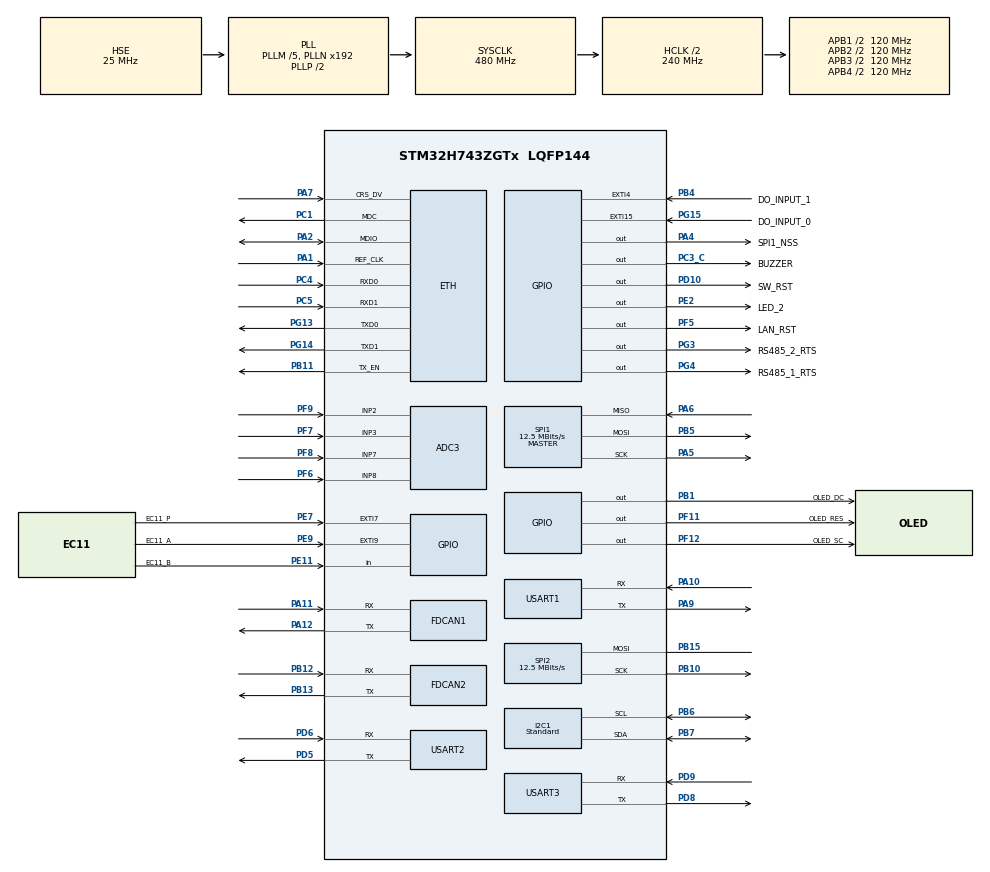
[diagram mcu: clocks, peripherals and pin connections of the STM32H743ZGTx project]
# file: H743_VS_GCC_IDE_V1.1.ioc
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ADC3.Channel-2\#ChannelRegularConversion=ADC_CHANNEL_8
ADC3.Channel-3\#ChannelRegularConversion=ADC_CHANNEL_3
ADC3.Channel-4\#ChannelRegularConversion=ADC_CHANNEL_7
ADC3.Channel-5\#ChannelRegularConversion=ADC_CHANNEL_2
ADC3.ClockPrescaler=ADC_CLOCK_ASYNC_DIV2
ADC3.ContinuousConvMode=ENABLE
ADC3.ConversionDataManagement=ADC_CONVERSIONDATA_DMA_CIRCULAR
ADC3.NbrOfConversion=4
ADC3.NbrOfConversionFlag=1
ADC3.OffsetNumber-2\#ChannelRegularConversion=ADC_OFFSET_NONE
ADC3.OffsetNumber-3\#ChannelRegularConversion=ADC_OFFSET_NONE
ADC3.OffsetNumber-4\#ChannelRegularConversion=ADC_OFFSET_NONE
ADC3.OffsetNumber-5\#ChannelRegularConversion=ADC_OFFSET_NONE
ADC3.OffsetSignedSaturation-2\#ChannelRegularConversion=DISABLE
ADC3.OffsetSignedSaturation-3\#ChannelRegularConversion=DISABLE
ADC3.OffsetSignedSaturation-4\#ChannelRegularConversion=DISABLE
ADC3.OffsetSignedSaturation-5\#ChannelRegularConversion=DISABLE
ADC3.Rank-2\#ChannelRegularConversion=1
ADC3.Rank-3\#ChannelRegularConversion=2
ADC3.Rank-4\#ChannelRegularConversion=3
ADC3.Rank-5\#ChannelRegularConversion=4
ADC3.SamplingTime-2\#ChannelRegularConversion=ADC_SAMPLETIME_32CYCLES_5
ADC3.SamplingTime-3\#ChannelRegularConversion=ADC_SAMPLETIME_32CYCLES_5
ADC3.SamplingTime-4\#ChannelRegularConversion=ADC_SAMPLETIME_32CYCLES_5
ADC3.SamplingTime-5\#ChannelRegularConversion=ADC_SAMPLETIME_32CYCLES_5
Bdma.ADC3.0.Direction=DMA_PERIPH_TO_MEMORY
Bdma.ADC3.0.EventEnable=DISABLE
Bdma.ADC3.0.Instance=BDMA_Channel0
Bdma.ADC3.0.MemDataAlignment=DMA_MDATAALIGN_HALFWORD
Bdma.ADC3.0.MemInc=DMA_MINC_ENABLE
Bdma.ADC3.0.Mode=DMA_CIRCULAR
Bdma.ADC3.0.PeriphDataAlignment=DMA_PDATAALIGN_HALFWORD
Bdma.ADC3.0.PeriphInc=DMA_PINC_DISABLE
Bdma.ADC3.0.Polarity=HAL_DMAMUX_REQ_GEN_RISING
Bdma.ADC3.0.Priority=DMA_PRIORITY_MEDIUM
Bdma.ADC3.0.RequestNumber=1
Bdma.ADC3.0.SignalID=NONE
Bdma.ADC3.0.SyncEnable=DISABLE
Bdma.ADC3.0.SyncPolarity=HAL_DMAMUX_SYNC_NO_EVENT
Bdma.ADC3.0.SyncRequestNumber=1
Bdma.ADC3.0.SyncSignalID=NONE
Bdma.Request0=ADC3
Bdma.RequestsNb=1
CORTEX_M7.AccessPermission_S-Cortex_Memory_Protection_Unit_Region1_Settings_S=MPU_REGION_FULL_ACCESS
CORTEX_M7.AccessPermission_S-Cortex_Memory_Protection_Unit_Region2_Settings_S=MPU_REGION_FULL_ACCESS
CORTEX_M7.AccessPermission_S-Cortex_Memory_Protection_Unit_Region3_Settings_S=MPU_REGION_FULL_ACCESS
CORTEX_M7.AccessPermission_S-Cortex_Memory_Protection_Unit_Region4_Settings_S=MPU_REGION_FULL_ACCESS
CORTEX_M7.AccessPermission_Spec=MPU_REGION_FULL_ACCESS
CORTEX_M7.BaseAddress_S-Cortex_Memory_Protection_Unit_Region1_Settings_S=0x30000000
CORTEX_M7.BaseAddress_S-Cortex_Memory_Protection_Unit_Region2_Settings_S=0x30004000
CORTEX_M7.BaseAddress_S-Cortex_Memory_Protection_Unit_Region3_Settings_S=0x38800000
CORTEX_M7.BaseAddress_S-Cortex_Memory_Protection_Unit_Region4_Settings_S=0x38000000
CORTEX_M7.BaseAddress_Spec=0x24000000
CORTEX_M7.CPU_DCache=Enabled
CORTEX_M7.CPU_ICache=Enabled
CORTEX_M7.DisableExec_S-Cortex_Memory_Protection_Unit_Region1_Settings_S=MPU_INSTRUCTION_ACCESS_DISABLE
CORTEX_M7.DisableExec_S-Cortex_Memory_Protection_Unit_Region2_Settings_S=MPU_INSTRUCTION_ACCESS_ENABLE
CORTEX_M7.DisableExec_Spec=MPU_INSTRUCTION_ACCESS_ENABLE
CORTEX_M7.Enable_S-Cortex_Memory_Protection_Unit_Region1_Settings_S=MPU_REGION_ENABLE
CORTEX_M7.Enable_S-Cortex_Memory_Protection_Unit_Region2_Settings_S=MPU_REGION_ENABLE
CORTEX_M7.Enable_S-Cortex_Memory_Protection_Unit_Region3_Settings_S=MPU_REGION_ENABLE
CORTEX_M7.Enable_S-Cortex_Memory_Protection_Unit_Region4_Settings_S=MPU_REGION_ENABLE
CORTEX_M7.Enable_S-Cortex_Memory_Protection_Unit_Region5_Settings_S=__NULL
CORTEX_M7.IsBufferable_S-Cortex_Memory_Protection_Unit_Region1_Settings_S=MPU_ACCESS_BUFFERABLE
CORTEX_M7.IsBufferable_S-Cortex_Memory_Protection_Unit_Region2_Settings_S=MPU_ACCESS_NOT_BUFFERABLE
CORTEX_M7.IsBufferable_S-Cortex_Memory_Protection_Unit_Region4_Settings_S=MPU_ACCESS_NOT_BUFFERABLE
CORTEX_M7.IsBufferable_Spec=MPU_ACCESS_NOT_BUFFERABLE
CORTEX_M7.IsCacheable_S-Cortex_Memory_Protection_Unit_Region2_Settings_S=MPU_ACCESS_CACHEABLE
CORTEX_M7.IsCacheable_S-Cortex_Memory_Protection_Unit_Region4_Settings_S=MPU_ACCESS_CACHEABLE
CORTEX_M7.IsCacheable_Spec=MPU_ACCESS_CACHEABLE
CORTEX_M7.IsShareable_S-Cortex_Memory_Protection_Unit_Region1_Settings_S=MPU_ACCESS_SHAREABLE
CORTEX_M7.IsShareable_S-Cortex_Memory_Protection_Unit_Region2_Settings_S=MPU_ACCESS_NOT_SHAREABLE
CORTEX_M7.IsShareable_S-Cortex_Memory_Protection_Unit_Region4_Settings_S=MPU_ACCESS_SHAREABLE
CORTEX_M7.IsShareable_Spec=MPU_ACCESS_NOT_SHAREABLE
CORTEX_M7.Size_S-Cortex_Memory_Protection_Unit_Region1_Settings_S=MPU_REGION_SIZE_256B
CORTEX_M7.Size_S-Cortex_Memory_Protection_Unit_Region2_Settings_S=MPU_REGION_SIZE_64KB
CORTEX_M7.Size_S-Cortex_Memory_Protection_Unit_Region3_Settings_S=MPU_REGION_SIZE_4KB
CORTEX_M7.Size_S-Cortex_Memory_Protection_Unit_Region4_Settings_S=MPU_REGION_SIZE_64KB
CORTEX_M7.Size_Spec=MPU_REGION_SIZE_512KB
CORTEX_M7.SubRegionDisable_Spec=0x00
CORTEX_M7.TypeExtField_S-Cortex_Memory_Protection_Unit_Region2_Settings_S=MPU_TEX_LEVEL1
CORTEX_M7.default_mode_Activation=1
Dma.I2C1_TX.0.Direction=DMA_MEMORY_TO_PERIPH
Dma.I2C1_TX.0.EventEnable=DISABLE
Dma.I2C1_TX.0.FIFOMode=DMA_FIFOMODE_DISABLE
Dma.I2C1_TX.0.Instance=DMA1_Stream3
Dma.I2C1_TX.0.MemDataAlignment=DMA_MDATAALIGN_BYTE
Dma.I2C1_TX.0.MemInc=DMA_MINC_ENABLE
Dma.I2C1_TX.0.Mode=DMA_NORMAL
Dma.I2C1_TX.0.PeriphDataAlignment=DMA_PDATAALIGN_BYTE
Dma.I2C1_TX.0.PeriphInc=DMA_PINC_DISABLE
Dma.I2C1_TX.0.Polarity=HAL_DMAMUX_REQ_GEN_RISING
Dma.I2C1_TX.0.Priority=DMA_PRIORITY_LOW
Dma.I2C1_TX.0.RequestNumber=1
Dma.I2C1_TX.0.SignalID=NONE
Dma.I2C1_TX.0.SyncEnable=DISABLE
Dma.I2C1_TX.0.SyncPolarity=HAL_DMAMUX_SYNC_NO_EVENT
Dma.I2C1_TX.0.SyncRequestNumber=1
Dma.I2C1_TX.0.SyncSignalID=NONE
Dma.Request0=I2C1_TX
Dma.Request1=USART2_RX
Dma.Request2=USART2_TX
Dma.Request3=USART1_RX
Dma.Request4=USART1_TX
Dma.USART1_RX.3.Direction=DMA_PERIPH_TO_MEMORY
Dma.USART1_RX.3.EventEnable=DISABLE
Dma.USART1_RX.3.FIFOMode=DMA_FIFOMODE_DISABLE
Dma.USART1_RX.3.Instance=DMA1_Stream0
Dma.USART1_RX.3.MemDataAlignment=DMA_MDATAALIGN_BYTE
Dma.USART1_RX.3.MemInc=DMA_MINC_ENABLE
Dma.USART1_RX.3.Mode=DMA_NORMAL
Dma.USART1_RX.3.PeriphDataAlignment=DMA_PDATAALIGN_BYTE
Dma.USART1_RX.3.PeriphInc=DMA_PINC_DISABLE
Dma.USART1_RX.3.Polarity=HAL_DMAMUX_REQ_GEN_RISING
Dma.USART1_RX.3.Priority=DMA_PRIORITY_MEDIUM
Dma.USART1_RX.3.RequestNumber=1
Dma.USART1_RX.3.SignalID=NONE
Dma.USART1_RX.3.SyncEnable=DISABLE
Dma.USART1_RX.3.SyncPolarity=HAL_DMAMUX_SYNC_NO_EVENT
Dma.USART1_RX.3.SyncRequestNumber=1
Dma.USART1_RX.3.SyncSignalID=NONE
Dma.USART1_TX.4.Direction=DMA_MEMORY_TO_PERIPH
Dma.USART1_TX.4.EventEnable=DISABLE
Dma.USART1_TX.4.FIFOMode=DMA_FIFOMODE_DISABLE
Dma.USART1_TX.4.Instance=DMA1_Stream1
Dma.USART1_TX.4.MemDataAlignment=DMA_MDATAALIGN_BYTE
Dma.USART1_TX.4.MemInc=DMA_MINC_ENABLE
Dma.USART1_TX.4.Mode=DMA_NORMAL
Dma.USART1_TX.4.PeriphDataAlignment=DMA_PDATAALIGN_BYTE
Dma.USART1_TX.4.PeriphInc=DMA_PINC_DISABLE
Dma.USART1_TX.4.Polarity=HAL_DMAMUX_REQ_GEN_RISING
Dma.USART1_TX.4.Priority=DMA_PRIORITY_MEDIUM
Dma.USART1_TX.4.RequestNumber=1
Dma.USART1_TX.4.SignalID=NONE
Dma.USART1_TX.4.SyncEnable=DISABLE
Dma.USART1_TX.4.SyncPolarity=HAL_DMAMUX_SYNC_NO_EVENT
Dma.USART1_TX.4.SyncRequestNumber=1
Dma.USART1_TX.4.SyncSignalID=NONE
Dma.USART2_RX.1.Direction=DMA_PERIPH_TO_MEMORY
Dma.USART2_RX.1.EventEnable=DISABLE
Dma.USART2_RX.1.FIFOMode=DMA_FIFOMODE_DISABLE
Dma.USART2_RX.1.Instance=DMA1_Stream4
Dma.USART2_RX.1.MemDataAlignment=DMA_MDATAALIGN_BYTE
Dma.USART2_RX.1.MemInc=DMA_MINC_ENABLE
Dma.USART2_RX.1.Mode=DMA_NORMAL
Dma.USART2_RX.1.PeriphDataAlignment=DMA_PDATAALIGN_BYTE
Dma.USART2_RX.1.PeriphInc=DMA_PINC_DISABLE
Dma.USART2_RX.1.Polarity=HAL_DMAMUX_REQ_GEN_RISING
Dma.USART2_RX.1.Priority=DMA_PRIORITY_LOW
Dma.USART2_RX.1.RequestNumber=1
Dma.USART2_RX.1.SignalID=NONE
Dma.USART2_RX.1.SyncEnable=DISABLE
Dma.USART2_RX.1.SyncPolarity=HAL_DMAMUX_SYNC_NO_EVENT
Dma.USART2_RX.1.SyncRequestNumber=1
Dma.USART2_RX.1.SyncSignalID=NONE
Dma.USART2_TX.2.Direction=DMA_MEMORY_TO_PERIPH
Dma.USART2_TX.2.EventEnable=DISABLE
Dma.USART2_TX.2.FIFOMode=DMA_FIFOMODE_DISABLE
Dma.USART2_TX.2.Instance=DMA1_Stream5
Dma.USART2_TX.2.MemDataAlignment=DMA_MDATAALIGN_BYTE
Dma.USART2_TX.2.MemInc=DMA_MINC_ENABLE
Dma.USART2_TX.2.Mode=DMA_NORMAL
Dma.USART2_TX.2.PeriphDataAlignment=DMA_PDATAALIGN_BYTE
Dma.USART2_TX.2.PeriphInc=DMA_PINC_DISABLE
Dma.USART2_TX.2.Polarity=HAL_DMAMUX_REQ_GEN_RISING
Dma.USART2_TX.2.Priority=DMA_PRIORITY_LOW
Dma.USART2_TX.2.RequestNumber=1
Dma.USART2_TX.2.SignalID=NONE
Dma.USART2_TX.2.SyncEnable=DISABLE
Dma.USART2_TX.2.SyncPolarity=HAL_DMAMUX_SYNC_NO_EVENT
Dma.USART2_TX.2.SyncRequestNumber=1
Dma.USART2_TX.2.SyncSignalID=NONE
ETH.ETH_RX_DESC_CNT=4
ETH.ETH_TX_DESC_CNT=4
ETH.MediaInterface=HAL_ETH_RMII_MODE
ETH.RxBuffLen=1536
ETH.RxBufferAddress=0x30000200
ETH.RxDescAddress=0x30000000
ETH.TxDescAddress=0x30000100
FDCAN1.CalculateBaudRateNominal=500000
FDCAN1.CalculateTimeBitNominal=2000
FDCAN1.CalculateTimeQuantumNominal=50.0
FDCAN1.DataPrescaler=5
FDCAN1.DataTimeSeg1=31
FDCAN1.DataTimeSeg2=8
FDCAN1.NominalPrescaler=5
FDCAN1.NominalTimeSeg1=31
FDCAN1.NominalTimeSeg2=8
FDCAN1.RxFifo0ElmtsNbr=32
FDCAN1.StdFiltersNbr=1
FDCAN1.TxFifoQueueElmtsNbr=16
FDCAN2.CalculateBaudRateNominal=500000
FDCAN2.CalculateTimeBitNominal=2000
FDCAN2.CalculateTimeQuantumNominal=50.0
FDCAN2.DataPrescaler=5
FDCAN2.DataTimeSeg1=31
FDCAN2.DataTimeSeg2=8
FDCAN2.MessageRAMOffset=0x406
FDCAN2.NominalPrescaler=5
FDCAN2.NominalTimeSeg1=31
FDCAN2.NominalTimeSeg2=8
FDCAN2.RxFifo1ElmtsNbr=32
FDCAN2.StdFiltersNbr=1
FDCAN2.TxFifoQueueElmtsNbr=32
FREERTOS.HEAP_NUMBER=4
FREERTOS.Tasks01=defaultTask,24,4096,StartDefaultTask,Default,NULL,Dynamic,NULL,NULL
FREERTOS.configENABLE_FPU=1
FREERTOS.configMINIMAL_STACK_SIZE=1024
FREERTOS.configTIMER_QUEUE_LENGTH=20
FREERTOS.configTIMER_TASK_PRIORITY=24
FREERTOS.configTIMER_TASK_STACK_DEPTH=20480
FREERTOS.configTOTAL_HEAP_SIZE=150*1024
FREERTOS.configUSE_NEWLIB_REENTRANT=1
FREERTOS.configUSE_TICKLESS_IDLE=1
I2C1.CustomTiming=Disabled
I2C1.I2C_Coeff_DF=10
I2C1.I2C_Fall_Time=20
I2C1.I2C_Rise_Time=20
I2C1.I2C_Speed_Mode=I2C_Standard
I2C1.Timing=0x10D0E0FF
LWIP.BSP.number=1
LWIP.DEFAULT_THREAD_PRIO=28
LWIP.ETH_RX_BUFFER_CNT=128
LWIP.IP_ADDRESS=000.000.000.000
LWIP.LWIP_ALLOW_MEM_FREE_FROM_OTHER_CONTEXT=1
LWIP.LWIP_DHCP=0
LWIP.LWIP_NETCONN_FULLDUPLEX=1
LWIP.LWIP_RAM_HEAP_POINTER=0x30000800
LWIP.LWIP_SNTP=1
LWIP.MEMP_MEM_INIT=1
LWIP.MEMP_MEM_MALLOC=1
LWIP.MEMP_NUM_PBUF=64
LWIP.MEMP_USE_CUSTOM_POOLS=1
LWIP.MEM_LIBC_MALLOC=1
LWIP.MEM_SIZE=65535
LWIP.NETMASK_ADDRESS=000.000.000.000
LWIP.PBUF_POOL_SIZE=128
LWIP.SLIPIF_THREAD_PRIO=28
LWIP.TCPIP_THREAD_PRIO=32
LWIP.TCPIP_THREAD_STACKSIZE=4096
LWIP.TCP_SND_QUEUELEN=24
LWIP.Version=v2.1.2_Cube
LWIP0.BSP.STBoard=false
LWIP0.BSP.api=BSP_COMPONENT_DRIVER
LWIP0.BSP.component=LAN8742
LWIP0.BSP.instance=LAN8742
LWIP0.BSP.name=Driver_PHY
LWIP0.BSP.semaphore=S_LAN8742
LWIP0.BSP.solution=LAN8742
Mcu.Family=STM32H7
Mcu.Name=STM32H743ZGTx
Mcu.Package=LQFP144
NVIC.BDMA_Channel0_IRQn=true\:5\:0\:false\:false\:true\:true\:false\:true\:true
NVIC.DMA1_Stream0_IRQn=true\:5\:0\:false\:false\:true\:true\:false\:true\:true
NVIC.DMA1_Stream1_IRQn=true\:5\:0\:false\:false\:true\:true\:false\:true\:true
NVIC.DMA1_Stream3_IRQn=true\:5\:0\:false\:false\:true\:true\:false\:true\:true
NVIC.DMA1_Stream4_IRQn=true\:5\:0\:false\:false\:true\:true\:false\:true\:true
NVIC.DMA1_Stream5_IRQn=true\:5\:0\:false\:false\:true\:true\:false\:true\:true
NVIC.ETH_IRQn=true\:5\:0\:true\:false\:true\:true\:true\:true\:true
NVIC.EXTI15_10_IRQn=true\:5\:0\:false\:false\:true\:true\:true\:true\:true
NVIC.EXTI4_IRQn=true\:5\:0\:false\:false\:true\:true\:true\:true\:true
NVIC.EXTI9_5_IRQn=true\:5\:0\:true\:false\:true\:false\:true\:true\:true
NVIC.FDCAN1_IT0_IRQn=true\:5\:0\:false\:false\:true\:true\:true\:true\:true
NVIC.FDCAN2_IT0_IRQn=true\:5\:0\:false\:false\:true\:true\:true\:true\:true
NVIC.PriorityGroup=NVIC_PRIORITYGROUP_4
NVIC.TIM2_IRQn=true\:5\:0\:false\:false\:true\:true\:true\:true\:true
NVIC.TIM7_IRQn=true\:15\:0\:false\:false\:true\:false\:false\:true\:true
NVIC.TimeBase=TIM7_IRQn
NVIC.TimeBaseIP=TIM7
NVIC.USART1_IRQn=true\:7\:0\:true\:false\:false\:true\:true\:true\:true
NVIC.USART2_IRQn=true\:5\:0\:true\:false\:true\:true\:true\:true\:true
NVIC.USART3_IRQn=true\:5\:0\:true\:false\:false\:true\:true\:true\:true
PA1.GPIO_Mode=GPIO_MODE_AF_PP
PA1.GPIO_PuPd=GPIO_NOPULL
PA1.GPIO_Speed=GPIO_SPEED_FREQ_VERY_HIGH
PA1.Mode=RMII
PA1.Signal=ETH_REF_CLK
PA10.GPIO_PuPd=GPIO_PULLUP
PA10.GPIO_Speed=GPIO_SPEED_FREQ_HIGH
PA10.Mode=Asynchronous
PA10.Signal=USART1_RX
PA11.Mode=FDCAN_Activate
PA11.Signal=FDCAN1_RX
PA12.Mode=FDCAN_Activate
PA12.Signal=FDCAN1_TX
PA13\ (JTMS/SWDIO).Mode=Serial_Wire
PA13\ (JTMS/SWDIO).Signal=DEBUG_JTMS-SWDIO
PA14\ (JTCK/SWCLK).Mode=Serial_Wire
PA14\ (JTCK/SWCLK).Signal=DEBUG_JTCK-SWCLK
PA2.GPIO_Mode=GPIO_MODE_AF_PP
PA2.GPIO_PuPd=GPIO_NOPULL
PA2.GPIO_Speed=GPIO_SPEED_FREQ_VERY_HIGH
PA2.Mode=RMII
PA2.Signal=ETH_MDIO
PA4.GPIO_Label=SPI1_NSS
PA4.GPIO_Speed=GPIO_SPEED_FREQ_MEDIUM
PA4.Signal=GPIO_Output
PA5.Mode=Full_Duplex_Master
PA5.Signal=SPI1_SCK
PA6.Mode=Full_Duplex_Master
PA6.Signal=SPI1_MISO
PA7.GPIO_Mode=GPIO_MODE_AF_PP
PA7.GPIO_PuPd=GPIO_NOPULL
PA7.GPIO_Speed=GPIO_SPEED_FREQ_VERY_HIGH
PA7.Mode=RMII
PA7.Signal=ETH_CRS_DV
PA9.GPIO_PuPd=GPIO_PULLUP
PA9.GPIO_Speed=GPIO_SPEED_FREQ_HIGH
PA9.Mode=Asynchronous
PA9.Signal=USART1_TX
PB1.GPIO_Label=OLED_DC
PB1.Signal=GPIO_Output
PB10.Mode=Simplex_Bidirectional_Master
PB10.Signal=SPI2_SCK
PB11.GPIO_Mode=GPIO_MODE_AF_PP
PB11.GPIO_PuPd=GPIO_NOPULL
PB11.GPIO_Speed=GPIO_SPEED_FREQ_VERY_HIGH
PB11.Mode=RMII
PB11.Signal=ETH_TX_EN
PB12.Mode=FDCAN_Activate
PB12.Signal=FDCAN2_RX
PB13.Mode=FDCAN_Activate
PB13.Signal=FDCAN2_TX
PB15.Mode=Simplex_Bidirectional_Master
PB15.Signal=SPI2_MOSI
PB4\ (NJTRST).GPIO_Label=DO_INPUT_1
PB4\ (NJTRST).Signal=GPXTI4
PB5.Mode=Full_Duplex_Master
PB5.Signal=SPI1_MOSI
PB6.GPIO_Pu=GPIO_PULLUP
PB6.GPIO_Speed=GPIO_SPEED_FREQ_HIGH
PB6.Mode=I2C
PB6.Signal=I2C1_SCL
PB7.GPIO_Pu=GPIO_PULLUP
PB7.GPIO_Speed=GPIO_SPEED_FREQ_HIGH
PB7.Mode=I2C
PB7.Signal=I2C1_SDA
PC1.GPIO_Mode=GPIO_MODE_AF_PP
PC1.GPIO_PuPd=GPIO_NOPULL
PC1.GPIO_Speed=GPIO_SPEED_FREQ_VERY_HIGH
PC1.Mode=RMII
PC1.Signal=ETH_MDC
PC14-OSC32_IN\ (OSC32_IN).Mode=LSE-External-Oscillator
PC14-OSC32_IN\ (OSC32_IN).Signal=RCC_OSC32_IN
PC15-OSC32_OUT\ (OSC32_OUT).Mode=LSE-External-Oscillator
PC15-OSC32_OUT\ (OSC32_OUT).Signal=RCC_OSC32_OUT
PC3_C.GPIO_Label=BUZZER
PC3_C.GPIO_Speed=GPIO_SPEED_FREQ_HIGH
PC3_C.Signal=GPIO_Output
PC4.GPIO_Mode=GPIO_MODE_AF_PP
PC4.GPIO_PuPd=GPIO_NOPULL
PC4.GPIO_Speed=GPIO_SPEED_FREQ_VERY_HIGH
PC4.Mode=RMII
PC4.Signal=ETH_RXD0
PC5.GPIO_Mode=GPIO_MODE_AF_PP
PC5.GPIO_PuPd=GPIO_NOPULL
PC5.GPIO_Speed=GPIO_SPEED_FREQ_VERY_HIGH
PC5.Mode=RMII
PC5.Signal=ETH_RXD1
PD10.GPIO_Label=SW_RST
PD10.Signal=GPIO_Output
PD5.GPIO_PuPd=GPIO_PULLUP
PD5.GPIO_Speed=GPIO_SPEED_FREQ_HIGH
PD5.Mode=Asynchronous
PD5.Signal=USART2_TX
PD6.GPIO_PuPd=GPIO_PULLUP
PD6.GPIO_Speed=GPIO_SPEED_FREQ_HIGH
PD6.Mode=Asynchronous
PD6.Signal=USART2_RX
PD8.GPIO_PuPd=GPIO_PULLUP
PD8.GPIO_Speed=GPIO_SPEED_FREQ_HIGH
PD8.Mode=Asynchronous
PD8.Signal=USART3_TX
PD9.GPIO_PuPd=GPIO_PULLUP
PD9.GPIO_Speed=GPIO_SPEED_FREQ_HIGH
PD9.Mode=Asynchronous
PD9.Signal=USART3_RX
PE11.GPIO_Label=EC11_B
PE11.Signal=GPIO_Input
PE2.GPIO_Label=LED_2
PE2.GPIO_PuPd=GPIO_PULLUP
PE2.Signal=GPIO_Output
PE7.GPIO_Label=EC11_P
PE7.GPIO_ModeDefaultEXTI=GPIO_MODE_IT_FALLING
PE7.Signal=GPXTI7
PE9.GPIO_Label=EC11_A
PE9.Signal=GPXTI9
PF11.GPIO_Label=OLED_RES
PF11.Signal=GPIO_Output
PF12.GPIO_Label=OLED_SC
PF12.Signal=GPIO_Output
PF5.GPIO_Label=LAN_RST
PF5.Signal=GPIO_Output
PF6.Mode=IN8-Single-Ended
PF6.Signal=ADC3_INP8
PF7.Mode=IN3-Single-Ended
PF7.Signal=ADC3_INP3
PF8.Mode=IN7-Single-Ended
PF8.Signal=ADC3_INP7
PF9.Mode=IN2-Single-Ended
PF9.Signal=ADC3_INP2
PG13.GPIO_Mode=GPIO_MODE_AF_PP
PG13.GPIO_PuPd=GPIO_NOPULL
PG13.GPIO_Speed=GPIO_SPEED_FREQ_VERY_HIGH
PG13.Mode=RMII
PG13.Signal=ETH_TXD0
PG14.GPIO_Mode=GPIO_MODE_AF_PP
PG14.GPIO_PuPd=GPIO_NOPULL
PG14.GPIO_Speed=GPIO_SPEED_FREQ_VERY_HIGH
PG14.Mode=RMII
PG14.Signal=ETH_TXD1
PG15.GPIO_Label=DO_INPUT_0
PG15.GPIO_PuPd=GPIO_PULLDOWN
PG15.Signal=GPXTI15
PG3.GPIO_Label=RS485_2_RTS
PG3.GPIO_ModeDefaultOutputPP=GPIO_MODE_OUTPUT_PP
PG3.GPIO_PuPd=GPIO_PULLDOWN
PG3.GPIO_Speed=GPIO_SPEED_FREQ_MEDIUM
PG3.PinState=GPIO_PIN_SET
PG3.Signal=GPIO_Output
PG4.GPIO_Label=RS485_1_RTS
PG4.GPIO_PuPd=GPIO_PULLDOWN
PG4.GPIO_Speed=GPIO_SPEED_FREQ_MEDIUM
PG4.PinState=GPIO_PIN_SET
PG4.Signal=GPIO_Output
PH0-OSC_IN\ (PH0).Mode=HSE-External-Oscillator
PH0-OSC_IN\ (PH0).Signal=RCC_OSC_IN
PH1-OSC_OUT\ (PH1).Mode=HSE-External-Oscillator
PH1-OSC_OUT\ (PH1).Signal=RCC_OSC_OUT
ProjectManager.HeapSize=0x1200
ProjectManager.StackSize=0x1000
ProjectManager.TargetToolchain=CMake
RCC.ADCFreq_Value=100000000
RCC.APB1Freq_Value=120000000
RCC.APB2Freq_Value=120000000
RCC.APB3Freq_Value=120000000
RCC.APB4Freq_Value=120000000
RCC.CortexFreq_Value=480000000
RCC.D1PPRE=RCC_APB3_DIV2
RCC.D2PPRE1=RCC_APB1_DIV2
RCC.D2PPRE2=RCC_APB2_DIV2
RCC.D3PPRE=RCC_APB4_DIV2
RCC.DIVM1=5
RCC.DIVM2=5
RCC.DIVM3=5
RCC.DIVN1=192
RCC.DIVN2=160
RCC.DIVN3=160
RCC.DIVP2=8
RCC.DIVP3=4
RCC.DIVQ2=8
RCC.DIVR3=8
RCC.FDCANCLockSelection=RCC_FDCANCLKSOURCE_PLL2
RCC.HCLKFreq_Value=240000000
RCC.HPRE=RCC_HCLK_DIV2
RCC.I2C123CLockSelection=RCC_I2C123CLKSOURCE_PLL3
RCC.PLLSourceVirtual=RCC_PLLSOURCE_HSE
RCC.RTCClockSelection=RCC_RTCCLKSOURCE_LSE
RCC.SPI123CLockSelection=RCC_SPI123CLKSOURCE_PLL3
RCC.SYSCLKFreq_VALUE=480000000
RCC.SYSCLKSource=RCC_SYSCLKSOURCE_PLLCLK
RCC.USBFreq_Value=480000000
RTC.Format=RTC_FORMAT_BCD
RTC.Year=25
SPI1.BaudRatePrescaler=SPI_BAUDRATEPRESCALER_16
SPI1.CalculateBaudRate=12.5 MBits/s
SPI1.DataSize=SPI_DATASIZE_8BIT
SPI1.Direction=SPI_DIRECTION_2LINES
SPI1.Mode=SPI_MODE_MASTER
SPI1.VirtualType=VM_MASTER
SPI2.BaudRatePrescaler=SPI_BAUDRATEPRESCALER_16
SPI2.CLKPhase=SPI_PHASE_2EDGE
SPI2.CLKPolarity=SPI_POLARITY_HIGH
SPI2.CalculateBaudRate=12.5 MBits/s
SPI2.DataSize=SPI_DATASIZE_8BIT
SPI2.Direction=SPI_DIRECTION_1LINE
SPI2.Mode=SPI_MODE_MASTER
SPI2.VirtualType=VM_MASTER
TIM2.Prescaler=239
USART1.VirtualMode-Asynchronous=VM_ASYNC
USART2.VirtualMode-Asynchronous=VM_ASYNC
USART3.VirtualMode-Asynchronous=VM_ASYNC
VP_FREERTOS_VS_CMSIS_V2.Mode=CMSIS_V2
VP_LWIP_VS_Enabled.Mode=Enabled
VP_MEMORYMAP_VS_MEMORYMAP.Mode=CurAppReg
VP_RTC_VS_RTC_Activate.Mode=RTC_Enabled
VP_RTC_VS_RTC_Calendar.Mode=RTC_Calendar
VP_SYS_VS_tim7.Mode=TIM7
VP_TIM2_VS_ClockSourceINT.Mode=Internal
board=custom

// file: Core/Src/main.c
/* USER CODE BEGIN Header */
/**
  ******************************************************************************
  * @file           : main.c
  * @brief          : Main program body
  ******************************************************************************
  * @attention
  *
  * Copyright (c) 2026 STMicroelectronics.
  * All rights reserved.
  *
  * This software is licensed under terms that can be found in the LICENSE file
  * in the root directory of this software component.
  * If no LICENSE file comes with this software, it is provided AS-IS.
  *
  ******************************************************************************
  */
/* USER CODE END Header */
#include "main.h"
#include "cmsis_os.h"
#include "adc.h"
#include "bdma.h"
#include "dma.h"
#include "fdcan.h"
#include "i2c.h"
#include "lwip.h"
#include "rtc.h"
#include "spi.h"
#include "tim.h"
#include "usart.h"
#include "gpio.h"

/* USER CODE BEGIN Includes */
#include "adc.h"
#include "cJSON.h"
/* USER CODE END Includes */

void SystemClock_Config(void);
void PeriphCommonClock_Config(void);
static void MPU_Config(void);
void MX_FREERTOS_Init(void);

/* USER CODE BEGIN 0 */
uint16_t adc_raw_buf[4] __attribute__((section(".ram_d3")));
float adc_current[4] __attribute__((section(".ram_d3")));
/* USER CODE END 0 */

int main(void)
{

  /* MPU Configuration--------------------------------------------------------*/
  MPU_Config();

  /* Enable the CPU Cache */

  /* Enable I-Cache---------------------------------------------------------*/
  SCB_EnableICache();

  /* Enable D-Cache---------------------------------------------------------*/
  SCB_EnableDCache();

  /* MCU Configuration--------------------------------------------------------*/

  /* Reset of all peripherals, Initializes the Flash interface and the Systick. */
  HAL_Init();

  /* Configure the system clock */
  SystemClock_Config();

  /* Configure the peripherals common clocks */
  PeriphCommonClock_Config();

  /* Initialize all configured peripherals */
  MX_GPIO_Init();
  MX_DMA_Init();
  MX_BDMA_Init();
  MX_FDCAN1_Init();
  MX_FDCAN2_Init();
  MX_I2C1_Init();
  MX_RTC_Init();
  MX_SPI1_Init();
  MX_USART1_UART_Init();
  MX_USART3_UART_Init();
  MX_USART2_UART_Init();
  MX_SPI2_Init();
  MX_ADC3_Init();
  MX_TIM2_Init();
  /* USER CODE BEGIN 2 */
  cJSON_Init_FreeRTOS_Heap();

  SCB_CleanInvalidateDCache_by_Addr((uint32_t *)adc_raw_buf, sizeof(adc_raw_buf));
  HAL_StatusTypeDef adc_ret = HAL_ADC_Start_DMA(&hadc3, (uint32_t*)adc_raw_buf, 4);
  SET_BIT(ADC3->CFGR, ADC_CFGR_DMNGT_0 | ADC_CFGR_DMNGT_1);
  if(adc_ret == HAL_OK)
  {
      LOG_Debug("ADC3 DMA 启动成功");
  }
  else
  {
      LOG_Debug("ADC3 DMA 启动失败, ret=%d", adc_ret);
  }
  // 判断ADC是否正在持续转换
  if(READ_BIT(ADC3->CR, ADC_CR_ADSTART))
  {
      LOG_Debug("ADC3 正在转换中");
  }
  if(READ_BIT(BDMA_Channel0->CCR, BDMA_CCR_EN))
  {
      LOG_Debug("BDMA通道0已开启传输");
  }
  /* USER CODE END 2 */

  /* Init scheduler */
  osKernelInitialize();  /* Call init function for freertos objects (in cmsis_os2.c) */
  MX_FREERTOS_Init();

  /* Start scheduler */
  osKernelStart();

  /* We should never get here as control is now taken by the scheduler */

  /* Infinite loop */
  while (1)
  {

  }
}

void SystemClock_Config(void)
{
  RCC_OscInitTypeDef RCC_OscInitStruct = {0};
  RCC_ClkInitTypeDef RCC_ClkInitStruct = {0};

  /** Supply configuration update enable
  */
  HAL_PWREx_ConfigSupply(PWR_LDO_SUPPLY);

  /** Configure the main internal regulator output voltage
  */
  __HAL_PWR_VOLTAGESCALING_CONFIG(PWR_REGULATOR_VOLTAGE_SCALE0);

  while(!__HAL_PWR_GET_FLAG(PWR_FLAG_VOSRDY)) {}

  /** Configure LSE Drive Capability
  */
  HAL_PWR_EnableBkUpAccess();
  __HAL_RCC_LSEDRIVE_CONFIG(RCC_LSEDRIVE_LOW);

  /** Initializes the RCC Oscillators according to the specified parameters
  * in the RCC_OscInitTypeDef structure.
  */
  RCC_OscInitStruct.OscillatorType = RCC_OSCILLATORTYPE_HSE|RCC_OSCILLATORTYPE_LSE;
  RCC_OscInitStruct.HSEState = RCC_HSE_ON;
  RCC_OscInitStruct.LSEState = RCC_LSE_ON;
  RCC_OscInitStruct.PLL.PLLState = RCC_PLL_ON;
  RCC_OscInitStruct.PLL.PLLSource = RCC_PLLSOURCE_HSE;
  RCC_OscInitStruct.PLL.PLLM = 5;
  RCC_OscInitStruct.PLL.PLLN = 192;
  RCC_OscInitStruct.PLL.PLLP = 2;
  RCC_OscInitStruct.PLL.PLLQ = 2;
  RCC_OscInitStruct.PLL.PLLR = 2;
  RCC_OscInitStruct.PLL.PLLRGE = RCC_PLL1VCIRANGE_2;
  RCC_OscInitStruct.PLL.PLLVCOSEL = RCC_PLL1VCOWIDE;
  RCC_OscInitStruct.PLL.PLLFRACN = 0;
  if (HAL_RCC_OscConfig(&RCC_OscInitStruct) != HAL_OK)
  {
    Error_Handler();
  }

  /** Initializes the CPU, AHB and APB buses clocks
  */
  RCC_ClkInitStruct.ClockType = RCC_CLOCKTYPE_HCLK|RCC_CLOCKTYPE_SYSCLK
                              |RCC_CLOCKTYPE_PCLK1|RCC_CLOCKTYPE_PCLK2
                              |RCC_CLOCKTYPE_D3PCLK1|RCC_CLOCKTYPE_D1PCLK1;
  RCC_ClkInitStruct.SYSCLKSource = RCC_SYSCLKSOURCE_PLLCLK;
  RCC_ClkInitStruct.SYSCLKDivider = RCC_SYSCLK_DIV1;
  RCC_ClkInitStruct.AHBCLKDivider = RCC_HCLK_DIV2;
  RCC_ClkInitStruct.APB3CLKDivider = RCC_APB3_DIV2;
  RCC_ClkInitStruct.APB1CLKDivider = RCC_APB1_DIV2;
  RCC_ClkInitStruct.APB2CLKDivider = RCC_APB2_DIV2;
  RCC_ClkInitStruct.APB4CLKDivider = RCC_APB4_DIV2;

  if (HAL_RCC_ClockConfig(&RCC_ClkInitStruct, FLASH_LATENCY_4) != HAL_OK)
  {
    Error_Handler();
  }
}

void PeriphCommonClock_Config(void)
{
  RCC_PeriphCLKInitTypeDef PeriphClkInitStruct = {0};

  /** Initializes the peripherals clock
  */
  PeriphClkInitStruct.PeriphClockSelection = RCC_PERIPHCLK_ADC|RCC_PERIPHCLK_I2C1
                              |RCC_PERIPHCLK_SPI2|RCC_PERIPHCLK_SPI1
                              |RCC_PERIPHCLK_FDCAN;
  PeriphClkInitStruct.PLL2.PLL2M = 5;
  PeriphClkInitStruct.PLL2.PLL2N = 160;
  PeriphClkInitStruct.PLL2.PLL2P = 8;
  PeriphClkInitStruct.PLL2.PLL2Q = 8;
  PeriphClkInitStruct.PLL2.PLL2R = 2;
  PeriphClkInitStruct.PLL2.PLL2RGE = RCC_PLL2VCIRANGE_2;
  PeriphClkInitStruct.PLL2.PLL2VCOSEL = RCC_PLL2VCOWIDE;
  PeriphClkInitStruct.PLL2.PLL2FRACN = 0;
  PeriphClkInitStruct.PLL3.PLL3M = 5;
  PeriphClkInitStruct.PLL3.PLL3N = 160;
  PeriphClkInitStruct.PLL3.PLL3P = 4;
  PeriphClkInitStruct.PLL3.PLL3Q = 2;
  PeriphClkInitStruct.PLL3.PLL3R = 8;
  PeriphClkInitStruct.PLL3.PLL3RGE = RCC_PLL3VCIRANGE_2;
  PeriphClkInitStruct.PLL3.PLL3VCOSEL = RCC_PLL3VCOWIDE;
  PeriphClkInitStruct.PLL3.PLL3FRACN = 0;
  PeriphClkInitStruct.Spi123ClockSelection = RCC_SPI123CLKSOURCE_PLL3;
  PeriphClkInitStruct.FdcanClockSelection = RCC_FDCANCLKSOURCE_PLL2;
  PeriphClkInitStruct.I2c123ClockSelection = RCC_I2C123CLKSOURCE_PLL3;
  PeriphClkInitStruct.AdcClockSelection = RCC_ADCCLKSOURCE_PLL2;
  if (HAL_RCCEx_PeriphCLKConfig(&PeriphClkInitStruct) != HAL_OK)
  {
    Error_Handler();
  }
}

 /* MPU Configuration */

void MPU_Config(void)
{
  MPU_Region_InitTypeDef MPU_InitStruct = {0};

  /* Disables the MPU */
  HAL_MPU_Disable();

  /** Initializes and configures the Region and the memory to be protected
  */
  MPU_InitStruct.Enable = MPU_REGION_ENABLE;
  MPU_InitStruct.Number = MPU_REGION_NUMBER0;
  MPU_InitStruct.BaseAddress = 0x24000000;
  MPU_InitStruct.Size = MPU_REGION_SIZE_512KB;
  MPU_InitStruct.SubRegionDisable = 0x00;
  MPU_InitStruct.TypeExtField = MPU_TEX_LEVEL0;
  MPU_InitStruct.AccessPermission = MPU_REGION_FULL_ACCESS;
  MPU_InitStruct.DisableExec = MPU_INSTRUCTION_ACCESS_ENABLE;
  MPU_InitStruct.IsShareable = MPU_ACCESS_NOT_SHAREABLE;
  MPU_InitStruct.IsCacheable = MPU_ACCESS_CACHEABLE;
  MPU_InitStruct.IsBufferable = MPU_ACCESS_NOT_BUFFERABLE;

  HAL_MPU_ConfigRegion(&MPU_InitStruct);

  /** Initializes and configures the Region and the memory to be protected
  */
  MPU_InitStruct.Number = MPU_REGION_NUMBER1;
  MPU_InitStruct.BaseAddress = 0x30000000;
  MPU_InitStruct.Size = MPU_REGION_SIZE_256B;
  MPU_InitStruct.SubRegionDisable = 0x0;
  MPU_InitStruct.DisableExec = MPU_INSTRUCTION_ACCESS_DISABLE;
  MPU_InitStruct.IsShareable = MPU_ACCESS_SHAREABLE;
  MPU_InitStruct.IsCacheable = MPU_ACCESS_NOT_CACHEABLE;
  MPU_InitStruct.IsBufferable = MPU_ACCESS_BUFFERABLE;

  HAL_MPU_ConfigRegion(&MPU_InitStruct);

  /** Initializes and configures the Region and the memory to be protected
  */
  MPU_InitStruct.Number = MPU_REGION_NUMBER2;
  MPU_InitStruct.BaseAddress = 0x30004000;
  MPU_InitStruct.Size = MPU_REGION_SIZE_64KB;
  MPU_InitStruct.TypeExtField = MPU_TEX_LEVEL1;
  MPU_InitStruct.DisableExec = MPU_INSTRUCTION_ACCESS_ENABLE;
  MPU_InitStruct.IsShareable = MPU_ACCESS_NOT_SHAREABLE;
  MPU_InitStruct.IsCacheable = MPU_ACCESS_CACHEABLE;
  MPU_InitStruct.IsBufferable = MPU_ACCESS_NOT_BUFFERABLE;

  HAL_MPU_ConfigRegion(&MPU_InitStruct);

  /** Initializes and configures the Region and the memory to be protected
  */
  MPU_InitStruct.Number = MPU_REGION_NUMBER3;
  MPU_InitStruct.BaseAddress = 0x38800000;
  MPU_InitStruct.Size = MPU_REGION_SIZE_4KB;
  MPU_InitStruct.TypeExtField = MPU_TEX_LEVEL0;
  MPU_InitStruct.IsCacheable = MPU_ACCESS_NOT_CACHEABLE;

  HAL_MPU_ConfigRegion(&MPU_InitStruct);

  /** Initializes and configures the Region and the memory to be protected
  */
  MPU_InitStruct.Number = MPU_REGION_NUMBER4;
  MPU_InitStruct.BaseAddress = 0x38000000;
  MPU_InitStruct.Size = MPU_REGION_SIZE_64KB;
  MPU_InitStruct.IsShareable = MPU_ACCESS_SHAREABLE;
  MPU_InitStruct.IsCacheable = MPU_ACCESS_CACHEABLE;

  HAL_MPU_ConfigRegion(&MPU_InitStruct);
  /* Enables the MPU */
  HAL_MPU_Enable(MPU_PRIVILEGED_DEFAULT);

}

void HAL_TIM_PeriodElapsedCallback(TIM_HandleTypeDef *htim)
{
  if (htim->Instance == TIM7)
  {
    HAL_IncTick();
  }
}

void Error_Handler(void)
{
  __disable_irq();
  while (1)
  {
  }
}

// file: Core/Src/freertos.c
/* USER CODE BEGIN Header */
/**
 ******************************************************************************
 * File Name          : freertos.c
 * Description        : Code for freertos applications
 ******************************************************************************
 * @attention
 *
 * Copyright (c) 2026 STMicroelectronics.
 * All rights reserved.
 *
 * This software is licensed under terms that can be found in the LICENSE file
 * in the root directory of this software component.
 * If no LICENSE file comes with this software, it is provided AS-IS.
 *
 ******************************************************************************
 */
/* USER CODE END Header */

#include "FreeRTOS.h"
#include "task.h"
#include "main.h"
#include "cmsis_os.h"

/* USER CODE BEGIN Includes */
#include "u8g2.h"
#include "oled_u8g2.h"
#include "sht40.h"
#include "rtc_clock.h"
#include "stdio.h"
#include "string.h"
#include "oled_page.h"
#include "oled_task.h"
#include "bsp_fdcan.h"
#include "buzzer.h"
#include "mbif.h"
#include "running_logic.h"
#include "syncif.h"
#include "shell_port.h"
#include "var_init.h"
#include "flashdb.h"
#include "net_comm_task.h"
#include "adc.h"
/* USER CODE END Includes */

/* USER CODE BEGIN Variables */
QueueHandle_t udp_msg_queue = NULL;
QueueHandle_t xTcpTaskQueue = NULL;
QueueHandle_t xTimerReqQueue = NULL;
/* USER CODE END Variables */
/* Definitions for defaultTask */
osThreadId_t defaultTaskHandle;
const osThreadAttr_t defaultTask_attributes = {
  .name = "defaultTask",
  .stack_size = 4096 * 4,
  .priority = (osPriority_t) osPriorityNormal,
};

/* USER CODE BEGIN FunctionPrototypes */
/**********************任务*************************************/
osThreadId_t ETH_InitTaskHandle;
const osThreadAttr_t ETH_InitTask_attributes = {
  .name = "ETH_InitTask",
  .stack_size = 512 * 4,
  .priority = (osPriority_t) osPriorityNormal,
};

osThreadId_t udpTaskHandle;
const osThreadAttr_t udpTask_attributes = {
  .name = "udpTask",
  .stack_size = 1024 * 10,     // 足够跑 UDP + JSON
  .priority = (osPriority_t) osPriorityNormal1,  // 与MODBUS通讯任务相同比普通任务高
};

// TCP 客户端任务配置（TCP 9530）
osThreadId_t tcpConfigTaskHandle;
const osThreadAttr_t tcpConfigTask_attributes = {
  .name = "tcpConfigTask",        // 任务名，唯一不重复
  .stack_size = 2048 * 4,         // 栈大小：4K（足够TCP+JSON解析）
  .priority = (osPriority_t) osPriorityNormal1,  // 优先级同TCP任务
};

// TCP 客户端TCP 任务处理任务（从TCP任务队列取出任务信息，执行注油）
osThreadId_t TCP_task_processingTaskHandle;
const osThreadAttr_t TCP_task_processingTask_attributes = {
  .name = "TCP_task_processingTask",        // 任务名，唯一不重复
  .stack_size = 1024* 4,         // 栈大小：4K（足够TCP+JSON解析）
  .priority = (osPriority_t) osPriorityNormal1,  // 优先级同TCP任务
};

// 定时上报任务（从定时上报专用队列取出信息，执行定时上报）
osThreadId_t TimerReqSendTaskHandle;
const osThreadAttr_t TimerReqSendTask_attributes = {
  .name = "TimerReqSendTask",
  .stack_size = 1024 * 4,
  .priority = (osPriority_t)osPriorityNormal1,
};

// 时间同步任务句柄
osThreadId_t TimeSyncTaskHandle;
const osThreadAttr_t TimeSyncTask_attributes = {
  .name       = "TimeSyncTask",
  .stack_size = 512 * 4,
  .priority   = osPriorityNormal1,
};

// 测试注油任务句柄
osThreadId_t Test_Oil_FillingTaskHandle;
const osThreadAttr_t Test_Oil_FillingTask_attributes = {
  .name       = "Test_Oil_FillingTask",
  .stack_size = 1024 * 4,
  .priority   = osPriorityNormal1,
};

osThreadId_t ADCTaskHandle;
const osThreadAttr_t ADCTask_attributes = {
  .name       = "ADCTask",
  .stack_size = 128 * 4,
  .priority   = osPriorityNormal1,
};

/**********************互斥锁*************************************/
osMutexId_t uart_mutex;//互斥锁，保护UART资源，避免多任务打印冲突
osMutexAttr_t uart_mutex_attr = {
    .name = "uart_mutex",
    .attr_bits = osMutexRecursive, // 支持递归锁，防止printf嵌套死锁
};

osMutexId_t flash_kv_mutex;
osMutexAttr_t flash_kv_mutex_attr = {
    .name = "flash_kv_mutex",
    .attr_bits = osMutexRecursive, // 开启递归，允许同一任务重复获取
};

osMutexId_t udp_pcb_mutex;
osMutexAttr_t udp_pcb_mutex_attr = {
    .name = "udp_pcb_mutex",
    .attr_bits = osMutexRecursive,
};

osMutexId_t tcp_send_mutex;
osMutexAttr_t tcp_send_mutex_attr = {
    .name = "tcp_send_mutex",
    .attr_bits = osMutexRecursive,
};

void StartUDPDiscoverTask(void *argument);
void StartTCPClientTask(void *argument);
void ETH_InitTask(void *argument);
void ADCTask(void *argument);

uint32_t start =0;
/* USER CODE END FunctionPrototypes */

void StartDefaultTask(void *argument);

extern void MX_LWIP_Init(void);
void MX_FREERTOS_Init(void); /* (MISRA C 2004 rule 8.1) */

/* USER CODE BEGIN PREPOSTSLEEP */
__weak void PreSleepProcessing(uint32_t ulExpectedIdleTime)
{
  /* place for user code */
}

__weak void PostSleepProcessing(uint32_t ulExpectedIdleTime)
{
  /* place for user code */
}
/* USER CODE END PREPOSTSLEEP */

void MX_FREERTOS_Init(void) {
  /* USER CODE BEGIN Init */
  /*初始化全局变量*/
  var_init();
  fal_init();
  /* USER CODE END Init */

  /* Create the thread(s) */
  /* creation of defaultTask */
  defaultTaskHandle = osThreadNew(StartDefaultTask, NULL, &defaultTask_attributes);

  /* USER CODE BEGIN RTOS_THREADS */
  udp_msg_queue = xQueueCreate(UDP_MSG_QUEUE_LEN, sizeof(UdpMsgTypeDef));
  xTcpTaskQueue = xQueueCreate(TCP_TASK_QUEUE_LEN, sizeof(TaskInfo_t));
  xTimerReqQueue = xQueueCreate(8, sizeof(TaskInfo_t));
  uart_mutex = osMutexNew(&uart_mutex_attr);
  flash_kv_mutex = osMutexNew(&flash_kv_mutex_attr);
  udp_pcb_mutex = osMutexNew(&udp_pcb_mutex_attr);
  tcp_send_mutex = osMutexNew(&tcp_send_mutex_attr);
  /* add threads, ... */
  /* USER CODE END RTOS_THREADS */

}

void StartDefaultTask(void *argument)
{
  /* init code for LWIP */
  MX_LWIP_Init();
  /* USER CODE BEGIN StartDefaultTask */
  GenerateDeviceSNFromUID();
  start = HAL_GetTick();
  LOG_Debug("init_net_db total start time: %lu ms", start);
  //—————————————必须放在MX_LWIP_Init();之后———————————————————————
  init_sys_db();//void syncif_task(void *argument)任务里的已经注释掉
  LOG_Debug("init_sys_db run time: %lu ms", HAL_GetTick() - start);
  init_net_db();
  LOG_Debug("init_net_db total run time: %lu ms", HAL_GetTick() - start);
  net_config_init();// 读取配网参数（必须放在init_sys_db()之后）
  //——————————————————————————————————————————————————————————————
  OLED_Task_Init();
  MsgQueue_Init();
  start_buzz_task();
	userShellInit();			//初始化配置LetterShell
  buzz_contral(BUZZ_LONG);
  fdcan1.rx_Filter_Init();
  fdcan1.rx_Interrupt_Init();
  fdcan1.start();
  fdcan2.rx_Filter_Init();
  fdcan2.rx_Interrupt_Init();
  fdcan2.start();

  start_syncif_task();
  vTaskDelay(1000);
  buzz_contral(BUZZ_SHORT);
  start_mbif_task();
  vTaskDelay(1000);
  buzz_contral(BUZZ_SHORT);
  start_injector_task();
  ETH_InitTaskHandle = osThreadNew(ETH_InitTask, NULL, &ETH_InitTask_attributes);
  /* Infinite loop */
  for (;;)
  {
     vTaskDelay(500);
  }
  /* USER CODE END StartDefaultTask */
}

/* USER CODE BEGIN Application */
void PrintTaskStackAndCount(void)
{
    // 1. 获取当前系统总任务数量
    UBaseType_t total_task_num = uxTaskGetNumberOfTasks();
    LOG("==================== System Task Info ====================");
    LOG("Total running task count: %lu", (unsigned long)total_task_num);
    LOG("----------------------------------------------------------");

    // 2. 逐个打印你创建的所有业务/网络任务最小剩余栈水位
    LOG("1 ,ADCTask                   min stack left: %u bytes", uxTaskGetStackHighWaterMark(ADCTaskHandle));
    LOG("2 ,StartDefaultTask          min stack left: %u bytes", uxTaskGetStackHighWaterMark(defaultTaskHandle));
    LOG("3 ,OLED_Task_Entry           min stack left: %u bytes", uxTaskGetStackHighWaterMark(g_oledTaskHandle));
    LOG("4 ,OLED_Msg_Task_Entry       min stack left: %u bytes", uxTaskGetStackHighWaterMark(OLED_Msg_TaskkHandle));
    LOG("5 ,buzz_task                 min stack left: %u bytes", uxTaskGetStackHighWaterMark(buzz_task_handler));
    LOG("6 ,syncif_task               min stack left: %u bytes", uxTaskGetStackHighWaterMark(syncif_task_handler));
    LOG("7 ,syncif_task_cycle         min stack left: %u bytes", uxTaskGetStackHighWaterMark(syncif_task_handler_cycle));
    LOG("8 ,mbif_task                 min stack left: %u bytes", uxTaskGetStackHighWaterMark(mbif_task_handler));
    LOG("9 ,injector_task             min stack left: %u bytes", uxTaskGetStackHighWaterMark(injector_task_handler));
    LOG("10 ,ETH_InitTask             min stack left: %u bytes", uxTaskGetStackHighWaterMark(ETH_InitTaskHandle));
    LOG("11,udp_discover_task         min stack left: %u bytes", uxTaskGetStackHighWaterMark(udpTaskHandle));
    LOG("12,tcp_client_task           min stack left: %u bytes", uxTaskGetStackHighWaterMark(tcpConfigTaskHandle));
    LOG("13,TCP_task_processing_task  min stack left: %u bytes", uxTaskGetStackHighWaterMark(TCP_task_processingTaskHandle));
    LOG("14,TimerReqSendTask          min stack left: %u bytes", uxTaskGetStackHighWaterMark(TimerReqSendTaskHandle));
    LOG("15,TimeSyncTask              min stack left: %u bytes", uxTaskGetStackHighWaterMark(TimeSyncTaskHandle));
    // LOG("xxx_task                min stack left: %u bytes", uxTaskGetStackHighWaterMark(xxxTaskHandle));

    LOG("----------------------------------------------------------");
    // 3. 打印堆内存使用水位
    size_t heap_free_now = xPortGetFreeHeapSize();//当前系统实时剩余可用堆内存字节数
    size_t heap_free_min = xPortGetMinimumEverFreeHeapSize();//堆内存出现过的最小剩余字节
    LOG("Heap Now Free: %u Bytes | Min Free Heap: %u Bytes", heap_free_now, heap_free_min);
    LOG("==========================================================\r\n");
}

void ETH_InitTask(void *argument)
{

  //—————————————必须放在MX_LWIP_Init();之后———————————————————————
  // init_net_db();
  //net_config_init();// 读取配网参数（必须放在init_sys_db()之后）
  //——————————————————————————————————————————————————————————————
  udpTaskHandle = osThreadNew(udp_discover_task, NULL, &udpTask_attributes);
  tcpConfigTaskHandle = osThreadNew(tcp_client_task, NULL, &tcpConfigTask_attributes);
  TCP_task_processingTaskHandle = osThreadNew(TCP_task_processing_task,  NULL, &TCP_task_processingTask_attributes);
  TimerReqSendTaskHandle = osThreadNew(timer_req_send_task, NULL, &TimerReqSendTask_attributes);
  TimeSyncTaskHandle = osThreadNew(TimeSyncTask, NULL, &TimeSyncTask_attributes);
  ADCTaskHandle = osThreadNew(ADCTask, NULL, &ADCTask_attributes);
  // Test_Oil_FillingTaskHandle = osThreadNew(test_oil_filling_task, NULL, &Test_Oil_FillingTask_attributes);
  // if(Test_Oil_FillingTaskHandle==0&&TimeSyncTaskHandle==0&&TimerReqSendTaskHandle==0&&TCP_task_processingTaskHandle==0&&tcpConfigTaskHandle==0&&udpTaskHandle==0)
  // {
  //   for (;;)
  //   {
  //       vTaskDelay(2000);
  //   }
  // }
  LOG_Debug("init run time: %lu ms", HAL_GetTick() - start);
  // osThreadNew(udp_echo_task, NULL, NULL);
  vTaskDelay(5000);
  for (;;)
  {
    PrintTaskStackAndCount();
    vTaskDelay(50000);

  }
}

void ADCTask(void *argument)
{
    LOG_Debug("buf_addr = 0x%p", adc_raw_buf);
    LOG_Debug("ADC3_CR   = 0x%08x", ADC3->CR);
    LOG_Debug("ADC3_CFGR = 0x%08x", ADC3->CFGR);
    uint32_t print_tick = 0;
    for (;;)
    {
      print_tick = HAL_GetTick();
      LOG_Debug("CNDTR=%d raw0=%d raw1=%d raw2=%d raw3=%d",
          BDMA_Channel0->CNDTR,
          adc_raw_buf[0], adc_raw_buf[1], adc_raw_buf[2], adc_raw_buf[3]);
      vTaskDelay(500);
    }
}

void HAL_ADC_ConvCpltCallback(ADC_HandleTypeDef* hadc)
{
    SCB_CleanInvalidateDCache_by_Addr((uint32_t *)adc_raw_buf, sizeof(adc_raw_buf));
    if(hadc->Instance == ADC3)
    {
        for(uint8_t i=0;i<4;i++)
        {
            float voltage = adc_raw_buf[i] * 3.3f / 65535.0f;
            adc_current[i] = voltage / 160.0f * 1000.0f;
        }
    }
}

void vApplicationStackOverflowHook(TaskHandle_t xTask, char *pcTaskName)
{
    // 当任务栈溢出时，会自动进入这里
    // pcTaskName 变量就是出问题的任务名字！
    (void)xTask;
    while(1)
    {
        __NOP(); // 死循环，方便调试
    }
}
/* USER CODE END Application */
